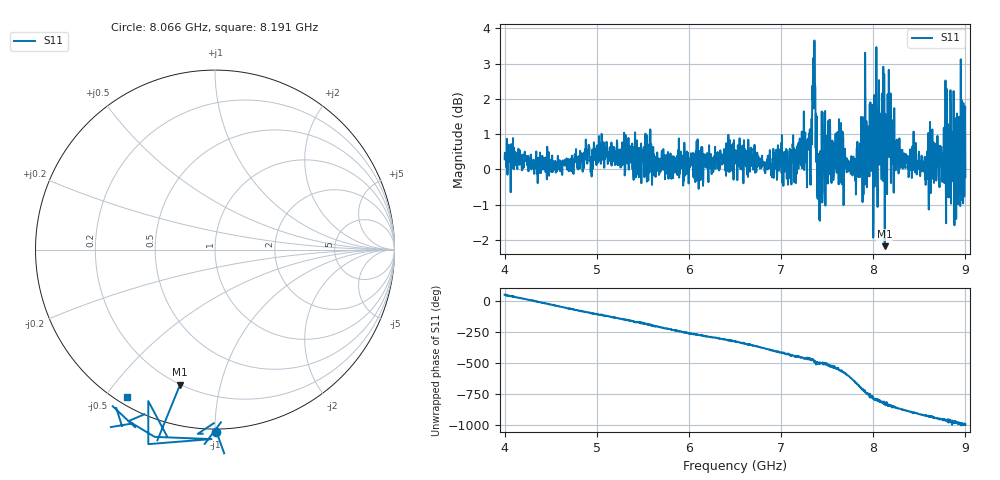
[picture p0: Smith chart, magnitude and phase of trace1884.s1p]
! Created with skrf 1.8.0 (http://scikit-rf.org).
# Hz S RI R 50.0
!freq ReS11 ImS11
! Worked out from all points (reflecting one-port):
!   1601 points, 4 GHz to 9 GHz, reference 50 ohm
!   lowest |S11| = -2.2 dB at 8.125 GHz (marker M1), VSWR 8.00, Z = 9.9 - j37.8 ohm
!   phase of S11 starts at 53 deg and turns -1045 deg over the sweep
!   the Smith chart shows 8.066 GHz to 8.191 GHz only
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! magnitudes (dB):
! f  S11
! 4 GHz  0.3
! 4.625 GHz  -0.2
! 5.25 GHz  0.2
! 5.875 GHz  0.4
! 6.5 GHz  0.2
! 7.125 GHz  0.7
! 7.297 GHz  0.9
! 7.353 GHz  2.3
! 7.362 GHz  3.7
! 7.397 GHz  -0.8
! 7.412 GHz  -0.1
! 7.509 GHz  0.3
! 7.562 GHz  0.8
! 7.631 GHz  0.4
! 7.75 GHz  0.2
! 7.859 GHz  0.7
! 7.891 GHz  0.9
! 8.022 GHz  0.9
! 8.053 GHz  0.8
! 8.066 GHz  0.1
! 8.097 GHz  0.0
! 8.125 GHz  -2.2
! 8.375 GHz  0.3
! 8.584 GHz  0.3
! 8.819 GHz  0.6
! 8.9 GHz  -1.4
! 8.972 GHz  0.3
! 9 GHz  -0.2
